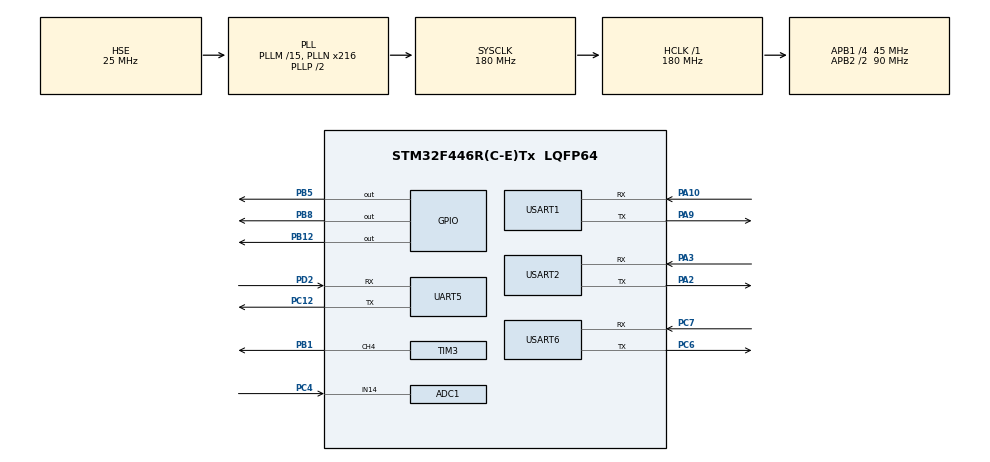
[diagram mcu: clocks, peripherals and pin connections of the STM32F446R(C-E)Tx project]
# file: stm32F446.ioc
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ADC1.Channel-0\#ChannelRegularConversion=ADC_CHANNEL_14
ADC1.ContinuousConvMode=ENABLE
ADC1.DMAContinuousRequests=ENABLE
ADC1.NbrOfConversionFlag=1
ADC1.Rank-0\#ChannelRegularConversion=1
ADC1.SamplingTime-0\#ChannelRegularConversion=ADC_SAMPLETIME_480CYCLES
ADC1.ScanConvMode=ENABLE
ADC1.master=1
Dma.ADC1.3.Direction=DMA_PERIPH_TO_MEMORY
Dma.ADC1.3.FIFOMode=DMA_FIFOMODE_DISABLE
Dma.ADC1.3.Instance=DMA2_Stream0
Dma.ADC1.3.MemDataAlignment=DMA_MDATAALIGN_BYTE
Dma.ADC1.3.MemInc=DMA_MINC_ENABLE
Dma.ADC1.3.Mode=DMA_CIRCULAR
Dma.ADC1.3.PeriphDataAlignment=DMA_PDATAALIGN_BYTE
Dma.ADC1.3.PeriphInc=DMA_PINC_DISABLE
Dma.ADC1.3.Priority=DMA_PRIORITY_VERY_HIGH
Dma.Request0=USART2_RX
Dma.Request1=UART5_RX
Dma.Request2=USART1_RX
Dma.Request3=ADC1
Dma.UART5_RX.1.Direction=DMA_PERIPH_TO_MEMORY
Dma.UART5_RX.1.FIFOMode=DMA_FIFOMODE_DISABLE
Dma.UART5_RX.1.Instance=DMA1_Stream0
Dma.UART5_RX.1.MemDataAlignment=DMA_MDATAALIGN_BYTE
Dma.UART5_RX.1.MemInc=DMA_MINC_ENABLE
Dma.UART5_RX.1.Mode=DMA_CIRCULAR
Dma.UART5_RX.1.PeriphDataAlignment=DMA_PDATAALIGN_BYTE
Dma.UART5_RX.1.PeriphInc=DMA_PINC_DISABLE
Dma.UART5_RX.1.Priority=DMA_PRIORITY_VERY_HIGH
Dma.USART1_RX.2.Direction=DMA_PERIPH_TO_MEMORY
Dma.USART1_RX.2.FIFOMode=DMA_FIFOMODE_DISABLE
Dma.USART1_RX.2.Instance=DMA2_Stream2
Dma.USART1_RX.2.MemDataAlignment=DMA_MDATAALIGN_BYTE
Dma.USART1_RX.2.MemInc=DMA_MINC_ENABLE
Dma.USART1_RX.2.Mode=DMA_CIRCULAR
Dma.USART1_RX.2.PeriphDataAlignment=DMA_PDATAALIGN_BYTE
Dma.USART1_RX.2.PeriphInc=DMA_PINC_DISABLE
Dma.USART1_RX.2.Priority=DMA_PRIORITY_VERY_HIGH
Dma.USART2_RX.0.Direction=DMA_PERIPH_TO_MEMORY
Dma.USART2_RX.0.FIFOMode=DMA_FIFOMODE_DISABLE
Dma.USART2_RX.0.Instance=DMA1_Stream5
Dma.USART2_RX.0.MemDataAlignment=DMA_MDATAALIGN_BYTE
Dma.USART2_RX.0.MemInc=DMA_MINC_ENABLE
Dma.USART2_RX.0.Mode=DMA_CIRCULAR
Dma.USART2_RX.0.PeriphDataAlignment=DMA_PDATAALIGN_BYTE
Dma.USART2_RX.0.PeriphInc=DMA_PINC_DISABLE
Dma.USART2_RX.0.Priority=DMA_PRIORITY_VERY_HIGH
FREERTOS.Tasks01=defaultTask,0,128,StartDefaultTask,Default,NULL,Dynamic,NULL,NULL;vision,0,128,vision_tesk,Default,NULL,Dynamic,NULL,NULL;screen,0,128,screen_tesk,Default,NULL,Dynamic,NULL,NULL;motor_control,0,128,motor_control_tesk,Default,NULL,Dynamic,NULL,NULL
Mcu.Family=STM32F4
Mcu.Name=STM32F446R(C-E)Tx
Mcu.Package=LQFP64
NVIC.DMA1_Stream0_IRQn=true\:5\:0\:false\:false\:true\:true\:false\:true\:true
NVIC.DMA1_Stream5_IRQn=true\:5\:0\:false\:false\:true\:true\:false\:true\:true
NVIC.DMA2_Stream0_IRQn=true\:5\:0\:false\:false\:true\:true\:false\:true\:true
NVIC.DMA2_Stream2_IRQn=true\:5\:0\:false\:false\:true\:true\:false\:true\:true
NVIC.PriorityGroup=NVIC_PRIORITYGROUP_4
NVIC.TIM3_IRQn=true\:6\:0\:true\:false\:true\:true\:true\:true\:true
NVIC.TIM8_TRG_COM_TIM14_IRQn=true\:15\:0\:false\:false\:true\:false\:false\:true\:true
NVIC.TimeBase=TIM8_TRG_COM_TIM14_IRQn
NVIC.TimeBaseIP=TIM14
NVIC.UART5_IRQn=true\:6\:0\:true\:false\:true\:true\:true\:true\:true
NVIC.USART1_IRQn=true\:6\:0\:true\:false\:true\:true\:true\:true\:true
NVIC.USART2_IRQn=true\:6\:0\:true\:false\:true\:true\:true\:true\:true
NVIC.USART6_IRQn=true\:7\:0\:true\:false\:true\:true\:true\:true\:true
PA10.Mode=Asynchronous
PA10.Signal=USART1_RX
PA13.Mode=Serial_Wire
PA13.Signal=SYS_JTMS-SWDIO
PA14.Mode=Serial_Wire
PA14.Signal=SYS_JTCK-SWCLK
PA2.Mode=Asynchronous
PA2.Signal=USART2_TX
PA3.Mode=Asynchronous
PA3.Signal=USART2_RX
PA9.Mode=Asynchronous
PA9.Signal=USART1_TX
PB1.Signal=S_TIM3_CH4
PB12.GPIO_PuPd=GPIO_NOPULL
PB12.Signal=GPIO_Output
PB5.Signal=GPIO_Output
PB8.Signal=GPIO_Output
PC12.Mode=Asynchronous
PC12.Signal=UART5_TX
PC4.Signal=ADCx_IN14
PC6.Mode=Asynchronous
PC6.Signal=USART6_TX
PC7.Mode=Asynchronous
PC7.Signal=USART6_RX
PD2.Mode=Asynchronous
PD2.Signal=UART5_RX
PH0-OSC_IN.Mode=HSE-External-Oscillator
PH0-OSC_IN.Signal=RCC_OSC_IN
PH1-OSC_OUT.Mode=HSE-External-Oscillator
PH1-OSC_OUT.Signal=RCC_OSC_OUT
ProjectManager.HeapSize=0x200
ProjectManager.StackSize=0x400
ProjectManager.TargetToolchain=MDK-ARM V5.27
RCC.AHBFreq_Value=180000000
RCC.APB1CLKDivider=RCC_HCLK_DIV4
RCC.APB1Freq_Value=45000000
RCC.APB1TimFreq_Value=90000000
RCC.APB2CLKDivider=RCC_HCLK_DIV2
RCC.APB2Freq_Value=90000000
RCC.APB2TimFreq_Value=180000000
RCC.CortexFreq_Value=180000000
RCC.HCLKFreq_Value=180000000
RCC.HSE_VALUE=25000000
RCC.PLLM=15
RCC.PLLN=216
RCC.PLLQ=5
RCC.PLLSourceVirtual=RCC_PLLSOURCE_HSE
RCC.SYSCLKFreq_VALUE=180000000
RCC.SYSCLKSource=RCC_SYSCLKSOURCE_PLLCLK
RCC.USBFreq_Value=72000000
RCC.VCOOutputFreq_Value=360000000
SH.ADCx_IN14.0=ADC1_IN14,IN14
SH.S_TIM3_CH4.0=TIM3_CH4,PWM Generation4 CH4
TIM3.AutoReloadPreload=TIM_AUTORELOAD_PRELOAD_ENABLE
TIM3.Channel-PWM\ Generation4\ CH4=TIM_CHANNEL_4
TIM3.Period=50-1
TIM3.Prescaler=180-1
UART5.VirtualMode=Asynchronous
USART1.VirtualMode=VM_ASYNC
USART2.VirtualMode=VM_ASYNC
USART6.VirtualMode=VM_ASYNC
VP_FREERTOS_VS_CMSIS_V1.Mode=CMSIS_V1
VP_SYS_VS_tim14.Mode=TIM14
VP_TIM3_VS_ClockSourceINT.Mode=Internal
board=custom

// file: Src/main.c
/* USER CODE BEGIN Header */
/**
  ******************************************************************************
  * @file           : main.c
  * @brief          : Main program body
  ******************************************************************************
  * @attention
  *
  * Copyright (c) 2023 STMicroelectronics.
  * All rights reserved.
  *
  * This software is licensed under terms that can be found in the LICENSE file
  * in the root directory of this software component.
  * If no LICENSE file comes with this software, it is provided AS-IS.
  *
  ******************************************************************************
  */
/* USER CODE END Header */
#include "main.h"
#include "cmsis_os.h"
#include "adc.h"
#include "dma.h"
#include "tim.h"
#include "usart.h"
#include "gpio.h"

/* USER CODE BEGIN Includes */
#include "motor_control.h"
#include "vision.h"
/* USER CODE END Includes */

/* USER CODE BEGIN PV */
extern uint8_t USART6_Rx_Buf[6];
extern int esp_show;
uint32_t adc_value[1];
/* USER CODE END PV */

void SystemClock_Config(void);
void MX_FREERTOS_Init(void);

/* USER CODE BEGIN 0 */
uint8_t Vision_data[Vision_FRAME_LENGTH];
uint8_t Motor_data[Motor_FRAME_LENGTH];
/* USER CODE END 0 */

int main(void)
{

  /* MCU Configuration--------------------------------------------------------*/

  /* Reset of all peripherals, Initializes the Flash interface and the Systick. */
  HAL_Init();

  /* Configure the system clock */
  SystemClock_Config();

  /* Initialize all configured peripherals */
  MX_GPIO_Init();
  MX_DMA_Init();
  MX_USART1_UART_Init();
  MX_USART2_UART_Init();
  MX_UART5_Init();
  MX_TIM3_Init();
  MX_USART6_UART_Init();
  MX_ADC1_Init();
  /* USER CODE BEGIN 2 */
  //HAL_UART_Receive_DMA(&huart1,(uint8_t*)&Vision_data[0],Vision_FRAME_LENGTH);
  HAL_UART_Receive_DMA(&huart2,(uint8_t*)&Vision_data[0],Vision_FRAME_LENGTH);
  HAL_UART_Receive_DMA(&huart5,&Motor_data[0],Motor_FRAME_LENGTH);
	HAL_TIM_PWM_Start(&htim3, TIM_CHANNEL_4);
	HAL_ADC_Start_DMA(&hadc1,adc_value,1);//开启ADC的DMA接收

	HAL_GPIO_WritePin(GPIOB,GPIO_PIN_12,GPIO_PIN_SET);
  HAL_GPIO_WritePin(GPIOB,GPIO_PIN_8,GPIO_PIN_RESET);
  HAL_GPIO_WritePin(GPIOB,GPIO_PIN_5,GPIO_PIN_RESET);
	vision_send_1();
	vision_send_2();
  Down_Motor.motor_act=1;
  Down_Motor.motor_target=1;
  /* USER CODE END 2 */

  /* Call init function for freertos objects (in freertos.c) */
  MX_FREERTOS_Init();

  /* Start scheduler */
  osKernelStart();
  /* We should never get here as control is now taken by the scheduler */
  /* Infinite loop */
  while (1)
  {

  }
}

void SystemClock_Config(void)
{
  RCC_OscInitTypeDef RCC_OscInitStruct = {0};
  RCC_ClkInitTypeDef RCC_ClkInitStruct = {0};

  /** Configure the main internal regulator output voltage
  */
  __HAL_RCC_PWR_CLK_ENABLE();
  __HAL_PWR_VOLTAGESCALING_CONFIG(PWR_REGULATOR_VOLTAGE_SCALE1);

  /** Initializes the RCC Oscillators according to the specified parameters
  * in the RCC_OscInitTypeDef structure.
  */
  RCC_OscInitStruct.OscillatorType = RCC_OSCILLATORTYPE_HSE;
  RCC_OscInitStruct.HSEState = RCC_HSE_ON;
  RCC_OscInitStruct.PLL.PLLState = RCC_PLL_ON;
  RCC_OscInitStruct.PLL.PLLSource = RCC_PLLSOURCE_HSE;
  RCC_OscInitStruct.PLL.PLLM = 15;
  RCC_OscInitStruct.PLL.PLLN = 216;
  RCC_OscInitStruct.PLL.PLLP = RCC_PLLP_DIV2;
  RCC_OscInitStruct.PLL.PLLQ = 5;
  RCC_OscInitStruct.PLL.PLLR = 2;
  if (HAL_RCC_OscConfig(&RCC_OscInitStruct) != HAL_OK)
  {
    Error_Handler();
  }

  /** Activate the Over-Drive mode
  */
  if (HAL_PWREx_EnableOverDrive() != HAL_OK)
  {
    Error_Handler();
  }

  /** Initializes the CPU, AHB and APB buses clocks
  */
  RCC_ClkInitStruct.ClockType = RCC_CLOCKTYPE_HCLK|RCC_CLOCKTYPE_SYSCLK
                              |RCC_CLOCKTYPE_PCLK1|RCC_CLOCKTYPE_PCLK2;
  RCC_ClkInitStruct.SYSCLKSource = RCC_SYSCLKSOURCE_PLLCLK;
  RCC_ClkInitStruct.AHBCLKDivider = RCC_SYSCLK_DIV1;
  RCC_ClkInitStruct.APB1CLKDivider = RCC_HCLK_DIV4;
  RCC_ClkInitStruct.APB2CLKDivider = RCC_HCLK_DIV2;

  if (HAL_RCC_ClockConfig(&RCC_ClkInitStruct, FLASH_LATENCY_5) != HAL_OK)
  {
    Error_Handler();
  }
}

void HAL_TIM_PeriodElapsedCallback(TIM_HandleTypeDef *htim)
{
  if (htim->Instance == TIM14) {
    HAL_IncTick();
  }
  /* USER CODE BEGIN Callback 1 */
	if(htim->Instance == TIM3)
	{
	}
  /* USER CODE END Callback 1 */
}

void Error_Handler(void)
{
  __disable_irq();
  while (1)
  {
  }
}

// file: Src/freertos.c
/* USER CODE BEGIN Header */
/**
  ******************************************************************************
  * File Name          : freertos.c
  * Description        : Code for freertos applications
  ******************************************************************************
  * @attention
  *
  * Copyright (c) 2023 STMicroelectronics.
  * All rights reserved.
  *
  * This software is licensed under terms that can be found in the LICENSE file
  * in the root directory of this software component.
  * If no LICENSE file comes with this software, it is provided AS-IS.
  *
  ******************************************************************************
  */
/* USER CODE END Header */

#include "FreeRTOS.h"
#include "task.h"
#include "main.h"
#include "cmsis_os.h"

/* USER CODE BEGIN Includes */
#include "motor_control.h"
#include "tim.h"
#include "screen.h"
#include "vision.h"
#include "adc.h"
/* USER CODE END Includes */

/* USER CODE BEGIN PD */
extern uint32_t adc_value[1];
float AD_Value,AD_Value1;
/* USER CODE END PD */

osThreadId defaultTaskHandle;
osThreadId visionHandle;
osThreadId screenHandle;
osThreadId motor_controlHandle;

void StartDefaultTask(void const * argument);
void vision_tesk(void const * argument);
void screen_tesk(void const * argument);
void motor_control_tesk(void const * argument);

void MX_FREERTOS_Init(void); /* (MISRA C 2004 rule 8.1) */

/* GetIdleTaskMemory prototype (linked to static allocation support) */
void vApplicationGetIdleTaskMemory( StaticTask_t **ppxIdleTaskTCBBuffer, StackType_t **ppxIdleTaskStackBuffer, uint32_t *pulIdleTaskStackSize );

/* USER CODE BEGIN GET_IDLE_TASK_MEMORY */
static StaticTask_t xIdleTaskTCBBuffer;
static StackType_t xIdleStack[configMINIMAL_STACK_SIZE];

void vApplicationGetIdleTaskMemory( StaticTask_t **ppxIdleTaskTCBBuffer, StackType_t **ppxIdleTaskStackBuffer, uint32_t *pulIdleTaskStackSize )
{
  *ppxIdleTaskTCBBuffer = &xIdleTaskTCBBuffer;
  *ppxIdleTaskStackBuffer = &xIdleStack[0];
  *pulIdleTaskStackSize = configMINIMAL_STACK_SIZE;
  /* place for user code */
}
/* USER CODE END GET_IDLE_TASK_MEMORY */

void MX_FREERTOS_Init(void) {

  /* Create the thread(s) */
  /* definition and creation of defaultTask */
  osThreadDef(defaultTask, StartDefaultTask, osPriorityNormal, 0, 128);
  defaultTaskHandle = osThreadCreate(osThread(defaultTask), NULL);

  /* definition and creation of vision */
  osThreadDef(vision, vision_tesk, osPriorityNormal, 0, 128);
  visionHandle = osThreadCreate(osThread(vision), NULL);

  /* definition and creation of screen */
  osThreadDef(screen, screen_tesk, osPriorityNormal, 0, 128);
  screenHandle = osThreadCreate(osThread(screen), NULL);

  /* definition and creation of motor_control */
  osThreadDef(motor_control, motor_control_tesk, osPriorityNormal, 0, 128);
  motor_controlHandle = osThreadCreate(osThread(motor_control), NULL);

}

void StartDefaultTask(void const * argument)
{
  /* USER CODE BEGIN StartDefaultTask */
  /* Infinite loop */
  for(;;)
  {
		//vision_send_2();
		//screen_return_movie();
    osDelay(2);
  }
  /* USER CODE END StartDefaultTask */
}

void vision_tesk(void const * argument)
{
  /* USER CODE BEGIN vision_tesk */
  /* Infinite loop */
  for(;;)
  {
    vision_uart_deal();

		HAL_ADC_Start(&hadc1);//启动adc转换
		HAL_ADC_PollForConversion(&hadc1, 0);//等待转换完成，第二个参数表示超时时间，单位ms
		if(HAL_IS_BIT_SET(HAL_ADC_GetState(&hadc1), HAL_ADC_STATE_REG_EOC))//
		{
			AD_Value = HAL_ADC_GetValue(&hadc1);//读取ADC转换数据，数据为12位
			AD_Value1=(float)AD_Value*33/40960;
		}

		HAL_ADC_Start_DMA(&hadc1,adc_value,1);//开启ADC的DMA接收

    osDelay(2);
  }
  /* USER CODE END vision_tesk */
}

/* USER CODE BEGIN Header_screen_tesk */
uint32_t vision_send_sign_1=0,vision_2_sign_1=0,vision_1_sign_1=0;
uint8_t vision_last_sign=0;
extern uint8_t up_motor_move_flag;
/**
* @brief Function implementing the screen thread.
* @param argument: Not used
* @retval None
*/
/* USER CODE END Header_screen_tesk */
void screen_tesk(void const * argument)
{
  /* USER CODE BEGIN screen_tesk */
  /* Infinite loop */
  for(;;)
  {
		if(vision_send_sign_1==2) vision_2_sign_1++;
		if(vision_2_sign_1==1)
		{
			vision_1_sign_1=0;
			vision_send_2();
		}

		if(vision_send_sign_1==1) vision_1_sign_1++;
		if(vision_1_sign_1==1)
		{
			vision_send_1();
			vision_2_sign_1=0;
		}

    screen_display_task();
    osDelay(2);
  }
  /* USER CODE END screen_tesk */
}

/* USER CODE BEGIN Header_motor_control_tesk */
uint8_t push_rod_motor_flage=0,Down_motor_flag=0,up_motor_tim_number=0,up_motor_sign_2=0;
uint16_t up_motor_sign_1=0,up_motor_wait_tim=500;
int cnt1,CNT2;//this useed
int cjr226=0,cue151=0;
/**
* @brief Function implementing the motor_control thread.
* @param argument: Not used
* @retval None
*/
/* USER CODE END Header_motor_control_tesk */
void motor_control_tesk(void const * argument)
{
  /* USER CODE BEGIN motor_control_tesk */
  /* Infinite loop */
  for(;;)
  {
    if(up_motor_tim_number==1)
    {
      up_motor_sign_1++;
      if(up_motor_sign_1==up_motor_wait_tim)
      {
				cjr226++;
        up_motor_sign_2=1;
        up_motor_sign_1=0;
        up_motor_tim_number=0;
      }
    }
    if(up_motor_sign_2==1)
    {
			cue151++;
      UP_motor_move();
    }
    if(Down_motor_flag==1)
    {
      //cnt1++;
      if(Down_Motor.motor_act-Down_Motor.motor_target==2) up_motor_wait_tim=800;
      else
      {
        up_motor_wait_tim=500;
      }
      rotateToPosition(Down_Motor.motor_act,Down_Motor.motor_target);
      up_motor_tim_number=1;
      Down_motor_flag=0;
    }

    if(push_rod_motor_flage==1)
    {
      cnt1++;
      push_rod_motor_in();
      if(cnt1%2700==0) push_rod_motor_flage=3;
      //HAL_GPIO_WritePin(GPIOB,GPIO_PIN_8,GPIO_PIN_RESET);
    }
    else if(push_rod_motor_flage==2)
    {
      CNT2++;
      push_rod_motor_push();
      if(CNT2%2700==0) push_rod_motor_flage=1;
      //HAL_GPIO_WritePin(GPIOB,GPIO_PIN_8,GPIO_PIN_SET);
    }
    else if(push_rod_motor_flage==3)
    {
      push_rod_motor_stop();
      //HAL_GPIO_WritePin(GPIOB,GPIO_PIN_8,GPIO_PIN_SET);
    }
    osDelay(2);
  }
  /* USER CODE END motor_control_tesk */
}
